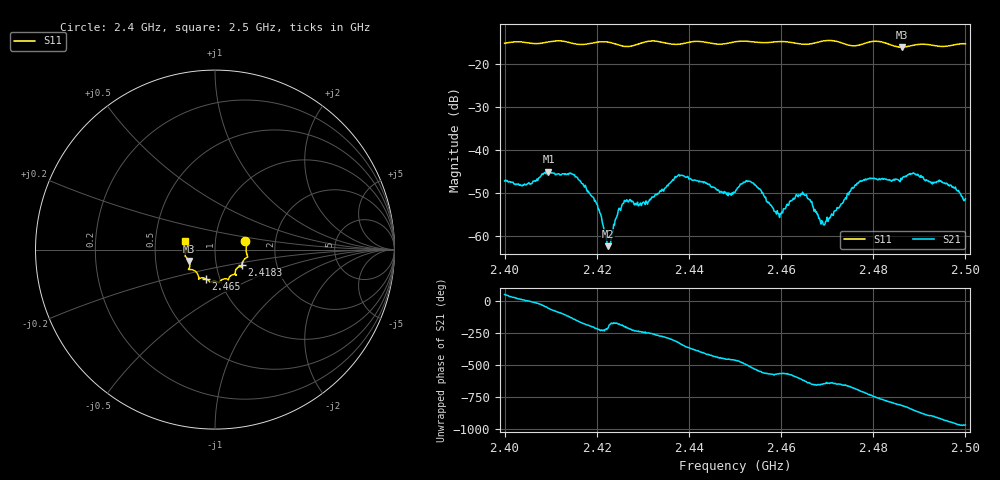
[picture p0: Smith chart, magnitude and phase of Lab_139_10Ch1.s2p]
# Hz S RI R 50
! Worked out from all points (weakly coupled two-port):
!   601 points, 2.4 GHz to 2.5 GHz, reference 50 ohm
!   highest |S21| = -45.00 dB at 2.4095 GHz (marker M1); lowest = -62.4 dB at 2.4225 GHz (marker M2)
!   lowest |S11| = -16.1 dB at 2.4862 GHz (marker M3), VSWR 1.37, Z = 37.2 - j4.83 ohm
!   |S11| at or under -10 dB: start of sweep to end of sweep
!   S12 and S22 are empty: the file has one direction only
!   S11 on the Smith chart (normalised r, x): 2.4 GHz: 1.40, +0.14; 2.4183 GHz: 1.33, -0.24; 2.465 GHz: 0.86, -0.28; 2.5 GHz: 0.71, +0.07
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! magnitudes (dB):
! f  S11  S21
! 2.4 GHz  -15.2  -47.2
! 2.4042 GHz  -14.9  -48.1
! 2.4095 GHz  -14.8  -45.0
! 2.4167 GHz  -15.4  -47.7
! 2.4183 GHz  -15.2  -50.0
! 2.4203 GHz  -14.9  -53.8
! 2.4225 GHz  -14.9  -62.4
! 2.426 GHz  -15.9  -51.7
! 2.4295 GHz  -15.2  -52.3
! 2.4333 GHz  -14.7  -50.2
! 2.4382 GHz  -15.3  -45.9
! 2.45 GHz  -14.8  -49.9
! 2.4535 GHz  -14.8  -47.4
! 2.4595 GHz  -14.8  -54.8
! 2.465 GHz  -15.4  -50.3
! 2.4667 GHz  -15.2  -52.0
! 2.4692 GHz  -14.6  -57.3
! 2.477 GHz  -15.6  -47.3
! 2.4833 GHz  -15.3  -47.0
! 2.4862 GHz  -16.1  -46.9
! 2.4948 GHz  -15.9  -47.4
! 2.5 GHz  -15.3  -51.3
